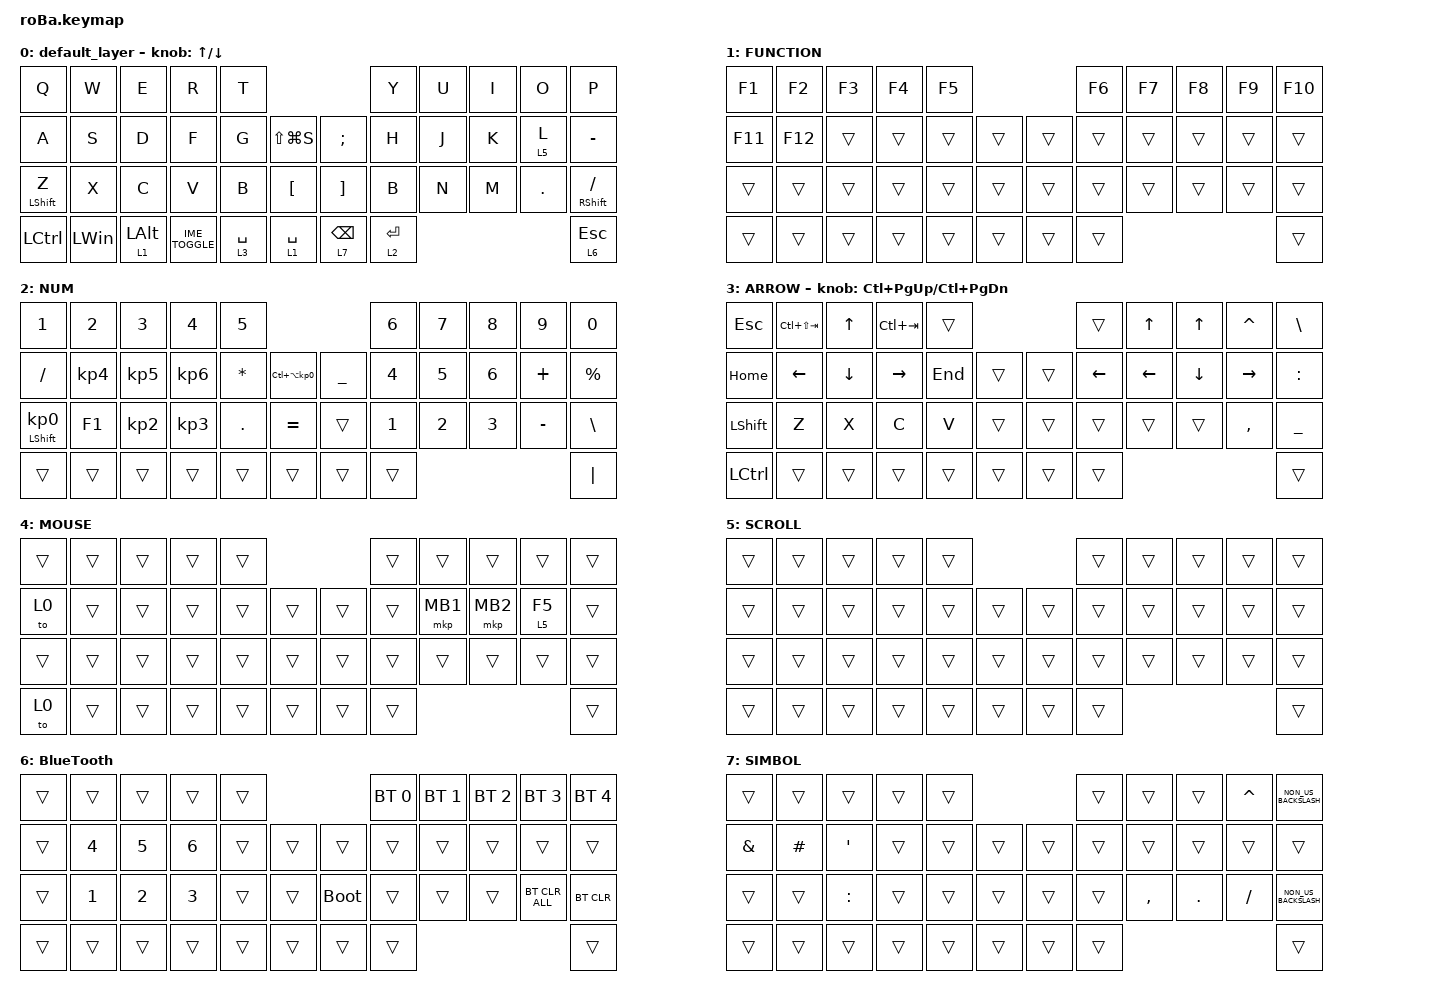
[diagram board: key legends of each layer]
#include <behaviors.dtsi>
#include <dt-bindings/zmk/bt.h>
#include <dt-bindings/zmk/keys.h>
#include <dt-bindings/zmk/pointing.h>

&mt {
    flavor = "balanced";
    quick-tap-ms = <0>;
};

&trackball {
    // automouse-layer = <4>;

    scroll-layers = <5>;

    // arrows {
    //     layers = <3>;
    //     bindings =
    //         <&kp RIGHT_ARROW>,
    //         <&kp LEFT_ARROW>,
    //         <&kp UP_ARROW>,
    //         <&kp DOWN_ARROW>;
    //     tick = <10>;
    //     wait-ms = <5>;
    //     tap-ms = <5>;
    // };
};

/ {
    combos {
        compatible = "zmk,combos";

        tab {
            bindings = <&kp TAB>;
            key-positions = <11 12>;
        };

        shift_tab {
            bindings = <&kp LS(TAB)>;
            key-positions = <12 13>;
        };

        muhennkann {
            bindings = <&to_layer_0 INT_MUHENKAN>;
            key-positions = <11 10>;
        };

        double_quotation {
            bindings = <&kp DOUBLE_QUOTES>;
            key-positions = <20 21>;
        };

        eq {
            bindings = <&kp EQUAL>;
            key-positions = <24 25>;
        };

        L_SHIFT {
            bindings = <&kp LEFT_SHIFT>;
            key-positions = <22 23>;
        };

        TO_MOUSE_LAYER {
            bindings = <&to 4>;
            key-positions = <18 19>;
        };
    };

    macros {
        to_layer_0: to_layer_0 {
            compatible = "zmk,behavior-macro-one-param";
            #binding-cells = <1>;
            bindings = <&to 0 &macro_param_1to1 &kp MACRO_PLACEHOLDER>;
            label = "TO_LAYER_0";
        };

        IME_TOGGLE: IME_TOGGLE {
            compatible = "zmk,behavior-macro";
            #binding-cells = <0>;
            bindings =
                <&macro_press>,
                <&kp LALT>,
                <&macro_tap>,
                <&kp GRAVE>,
                <&macro_release>,
                <&kp LALT>;

            label = "IME_TOGGLE";
        };
    };

    behaviors {
        lt_to_layer_0: lt_to_layer_0 {
            compatible = "zmk,behavior-hold-tap";
            label = "LAYER_TAP_TO_0";
            bindings = <&mo>, <&to_layer_0>;

            #binding-cells = <2>;
            tapping-term-ms = <200>;
        };
    };

    keymap {
        compatible = "zmk,keymap";

        default_layer {
            bindings = <
&kp Q             &kp W         &kp E                      &kp R        &kp T                                                 &kp Y        &kp U  &kp I  &kp O    &kp P
&kp A             &kp S         &kp D                      &kp F        &kp G        &kp LS(LG(S))         &kp SEMICOLON      &kp H        &kp J  &kp K  &lt 5 L  &kp MINUS
&mt LEFT_SHIFT Z  &kp X         &kp C                      &kp V        &kp B        &kp LEFT_BRACKET      &kp RIGHT_BRACKET  &kp B        &kp N  &kp M  &kp DOT  &mt RSHIFT SLASH
&kp LCTRL         &kp LEFT_WIN  &lt_to_layer_0 1 LEFT_ALT  &IME_TOGGLE  &lt 3 SPACE  &lt 1 SPACE           &lt 7 BACKSPACE    &lt 2 ENTER                         &lt 6 ESCAPE
            >;

            sensor-bindings = <&inc_dec_kp UP_ARROW DOWN_ARROW>;
        };

        FUNCTION {
            bindings = <
&kp F1   &kp F2   &kp F3  &kp F4  &kp F5                      &kp F6  &kp F7  &kp F8  &kp F9  &kp F10
&kp F11  &kp F12  &trans  &trans  &trans  &trans      &trans  &trans  &trans  &trans  &trans  &trans
&trans   &trans   &trans  &trans  &trans  &trans      &trans  &trans  &trans  &trans  &trans  &trans
&trans   &trans   &trans  &trans  &trans  &trans      &trans  &trans                          &trans
            >;
        };

        NUM {
            bindings = <
&kp NUMBER_1                &kp NUMBER_2     &kp NUMBER_3     &kp NUMBER_4     &kp N5                                                     &kp NUMBER_6  &kp N7        &kp N8        &kp N9     &kp N0
&kp SLASH                   &kp KP_NUMBER_4  &kp KP_NUMBER_5  &kp KP_NUMBER_6  &kp ASTERISK  &kp LC(LA(KP_NUMBER_0))      &kp UNDERSCORE  &kp NUMBER_4  &kp N5        &kp NUMBER_6  &kp PLUS   &kp PERCENT
&mt LEFT_SHIFT KP_NUMBER_0  &kp F1           &kp KP_NUMBER_2  &kp KP_NUMBER_3  &kp PERIOD    &kp EQUAL                    &trans          &kp NUMBER_1  &kp NUMBER_2  &kp NUMBER_3  &kp MINUS  &kp BACKSLASH
&trans                      &trans           &trans           &trans           &trans        &trans                       &trans          &trans                                               &kp PIPE
            >;
        };

        ARROW {
            bindings = <
&kp ESCAPE      &kp LC(LS(TAB))  &kp UP_ARROW    &kp LC(TAB)      &trans                       &trans          &kp UP_ARROW    &kp UP_ARROW    &kp CARET        &kp BSLH
&kp HOME        &kp LEFT_ARROW   &kp DOWN_ARROW  &kp RIGHT_ARROW  &kp END  &trans      &trans  &kp LEFT_ARROW  &kp LEFT_ARROW  &kp DOWN_ARROW  &kp RIGHT_ARROW  &kp COLON
&kp LEFT_SHIFT  &kp Z            &kp X           &kp C            &kp V    &trans      &trans  &trans          &trans          &trans          &kp COMMA        &kp UNDERSCORE
&kp LCTRL       &trans           &trans          &trans           &trans   &trans      &trans  &trans                                                           &trans
            >;

            sensor-bindings = <&inc_dec_kp LC(PAGE_UP) LC(PAGE_DOWN)>;
        };

        MOUSE {
            bindings = <
&trans  &trans  &trans  &trans  &trans                      &trans  &trans    &trans    &trans    &trans
&to 0   &trans  &trans  &trans  &trans  &trans      &trans  &trans  &mkp MB1  &mkp MB2  &lt 5 F5  &trans
&trans  &trans  &trans  &trans  &trans  &trans      &trans  &trans  &trans    &trans    &trans    &trans
&to 0   &trans  &trans  &trans  &trans  &trans      &trans  &trans                                &trans
            >;
        };

        SCROLL {
            bindings = <
&trans  &trans  &trans  &trans  &trans                      &trans  &trans  &trans  &trans  &trans
&trans  &trans  &trans  &trans  &trans  &trans      &trans  &trans  &trans  &trans  &trans  &trans
&trans  &trans  &trans  &trans  &trans  &trans      &trans  &trans  &trans  &trans  &trans  &trans
&trans  &trans  &trans  &trans  &trans  &trans      &trans  &trans                          &trans
            >;
        };

        BlueTooth {
            bindings = <
&trans  &trans        &trans        &trans        &trans                           &bt BT_SEL 0  &bt BT_SEL 1  &bt BT_SEL 2  &bt BT_SEL 3    &bt BT_SEL 4
&trans  &kp NUMBER_4  &kp N5        &kp NUMBER_6  &trans  &trans      &trans       &trans        &trans        &trans        &trans          &trans
&trans  &kp NUMBER_1  &kp NUMBER_2  &kp NUMBER_3  &trans  &trans      &bootloader  &trans        &trans        &trans        &bt BT_CLR_ALL  &bt BT_CLR
&trans  &trans        &trans        &trans        &trans  &trans      &trans       &trans                                                    &trans
            >;
        };

        SIMBOL {
            bindings = <
&trans         &trans    &trans     &trans  &trans                      &trans  &trans     &trans      &kp CARET  &kp NON_US_BACKSLASH
&kp AMPERSAND  &kp HASH  &kp SQT    &trans  &trans  &trans      &trans  &trans  &trans     &trans      &trans     &trans
&trans         &trans    &kp COLON  &trans  &trans  &trans      &trans  &trans  &kp COMMA  &kp PERIOD  &kp SLASH  &kp NON_US_BACKSLASH
&trans         &trans    &trans     &trans  &trans  &trans      &trans  &trans                                    &trans
            >;
        };
    };
};
